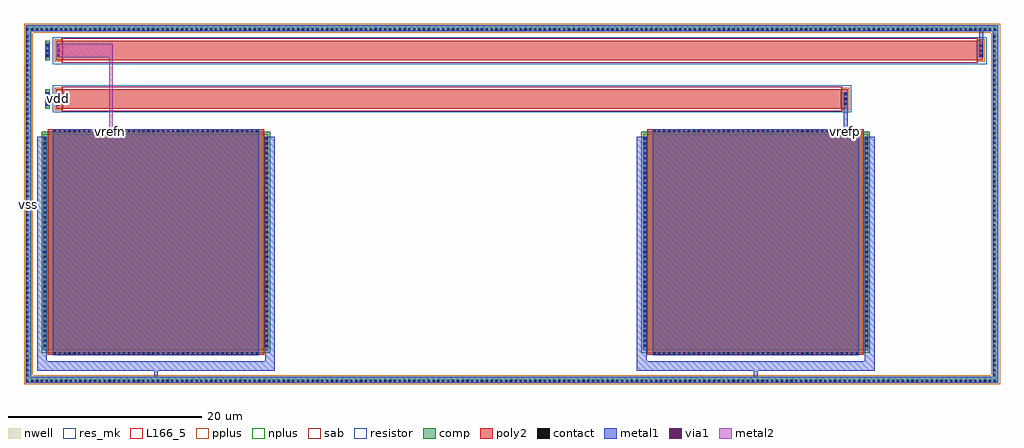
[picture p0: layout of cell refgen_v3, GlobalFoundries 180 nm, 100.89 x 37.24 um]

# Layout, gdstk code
import gdstk
lib = gdstk.Library(unit=1e-6, precision=1e-09)
def R(c, l, rs):  # rectangles x0, y0, x1, y1
    for r in rs: c.add(gdstk.rectangle(r[:2], r[2:], *l))
def A(c, l, x, y, w, h, nx, ny, dx, dy):  # array of equal rectangles
    R(c, l, [(x+i*dx, y+j*dy, x+i*dx+w, y+j*dy+h) for i in range(nx) for j in range(ny)])
nwell = (21, 0)
comp = (22, 0)
poly2 = (30, 0)
pplus = (31, 0)
nplus = (32, 0)
contact = (33, 0)
metal1 = (34, 0)
via1 = (35, 0)
metal2 = (36, 0)
sab = (49, 0)
resistor = (62, 0)
res_mk = (110, 5)
L166_5 = (166, 5)

refgen_v3 = lib.new_cell('refgen_v3')
R(refgen_v3, nwell, [(-2.16,-25.23,21.44,-2.37), (59.84,-25.23,83.44,-2.37)])
R(refgen_v3, comp, [(-3.83,-28.32,96.74,-27.72), (-3.83,-27.72,-3.23,8), (96.14,-27.72,96.74,8), (-2,-25,21.28,-2.6), (60,-25,83.28,-2.6), (-1.76,0,-1.34,2), (-1.76,5,-1.34,7), (-3.83,8,96.74,8.6)])
R(refgen_v3, poly2, [(-1.56,-25.46,20.84,-2.14), (60.44,-25.46,82.84,-2.14), (-0.64,0,81.14,2), (-0.64,5,95.14,7)])
R(refgen_v3, pplus, [(-3.99,-28.48,96.9,-27.56), (-3.99,-27.88,-3.07,8.16), (95.98,-27.88,96.9,8.16), (-0.82,-0.18,0,2.18), (80.5,-0.18,81.32,2.18), (-1.78,-0.02,-1.32,2.02), (-0.82,4.82,0,7.18), (94.5,4.82,95.32,7.18), (-1.78,4.98,-1.32,7.02), (-3.99,7.84,96.9,8.76)])
R(refgen_v3, nplus, [(-2.16,-25.23,21.44,-2.37), (59.84,-25.23,83.44,-2.37)])
A(refgen_v3, contact, -3.76, -28.25, 0.22, 0.22, 201, 2, 0.5, 36.32)
A(refgen_v3, contact, -3.76, -27.65, 0.22, 0.22, 1, 71, 0, 0.5)
A(refgen_v3, contact, 96.21, -27.65, 0.22, 0.22, 1, 71, 0, 0.5)
A(refgen_v3, contact, -0.925, -25.39, 0.22, 0.22, 42, 2, 0.51, 22.96)
A(refgen_v3, contact, 61.075, -25.39, 0.22, 0.22, 42, 2, 0.51, 22.96)
A(refgen_v3, contact, -1.93, -24.62, 0.22, 0.22, 1, 43, 0, 0.51)
A(refgen_v3, contact, 20.99, -24.62, 0.22, 0.22, 1, 43, 0, 0.51)
A(refgen_v3, contact, 60.07, -24.62, 0.22, 0.22, 1, 43, 0, 0.51)
A(refgen_v3, contact, 82.99, -24.62, 0.22, 0.22, 1, 43, 0, 0.51)
A(refgen_v3, contact, -1.66, 0.38, 0.22, 0.22, 1, 3, 0, 0.51)
A(refgen_v3, contact, -0.57, 0.38, 0.22, 0.22, 1, 3, 0, 0.51)
A(refgen_v3, contact, 80.85, 0.38, 0.22, 0.22, 1, 3, 0, 0.51)
A(refgen_v3, contact, -1.66, 5.38, 0.22, 0.22, 1, 3, 0, 0.51)
A(refgen_v3, contact, -0.57, 5.38, 0.22, 0.22, 1, 3, 0, 0.51)
A(refgen_v3, contact, 94.85, 5.38, 0.22, 0.22, 1, 3, 0, 0.51)
R(refgen_v3, metal1, [(-3.83,-28.32,96.74,-27.72), (9.46,-28.32,9.84,-27.12), (71.46,-28.32,71.84,-27.12), (-3.83,-27.72,-3.23,8), (96.14,-27.72,96.74,8), (-2.63,-27.12,21.93,-26.12), (59.37,-27.12,83.93,-26.12), (-2.63,-26.12,-1.63,-2.9), (20.93,-26.12,21.93,-2.9), (59.37,-26.12,60.37,-2.9), (82.93,-26.12,83.93,-2.9), (-1.005,-25.47,20.285,-25.09), (-1.005,-25.47,20.285,-2.13), (60.995,-25.47,82.285,-25.09), (60.995,-25.47,82.285,-2.13), (-2.01,-24.7,-1.63,-2.9), (20.91,-24.7,21.29,-2.9), (59.99,-24.7,60.37,-2.9), (82.91,-24.7,83.29,-2.9), (80.77,-2.53,81.15,1.7), (-1.005,-2.51,20.285,-2.13), (60.995,-2.51,82.285,-2.13), (-1.74,0.3,-1.36,1.7), (-0.65,0.3,-0.27,1.7), (80.77,0.3,81.15,1.7), (-1.74,5.3,-1.36,6.7), (-0.65,5.3,-0.27,6.7), (94.77,5.3,95.15,6.7), (94.77,6.7,95.15,8.6), (-3.83,8,96.74,8.6)])
R(refgen_v3, via1, [(4.87,-2.46,5.13,-2.2), (-0.59,5.87,-0.33,6.13)])
R(refgen_v3, metal2, [(4.81,-2.53,5.19,6.7), (-0.65,5.3,5.19,6.7)])
R(refgen_v3, sab, [(-0.1,-0.28,80.6,2.28), (-0.1,4.72,94.6,7.28)])
R(refgen_v3, resistor, [(-1.04,-0.4,81.54,2.4), (-1.04,4.6,95.54,7.4)])
R(refgen_v3, res_mk, [(0,0,80.5,2), (0,5,94.5,7)])
R(refgen_v3, L166_5, [(-2,-25,21.28,-2.6), (60,-25,83.28,-2.6)])
refgen_v3.add(gdstk.Label('vrefp', (80.96,-2.33), layer=34, texttype=10))
refgen_v3.add(gdstk.Label('vdd', (-0.46,1), layer=34, texttype=10))
refgen_v3.add(gdstk.Label('vss', (-3.53,-9.86), layer=34, texttype=10))
refgen_v3.add(gdstk.Label('vrefn', (5,-2.33), layer=36, texttype=10))

lib.write_gds('refgen_v3.gds')
